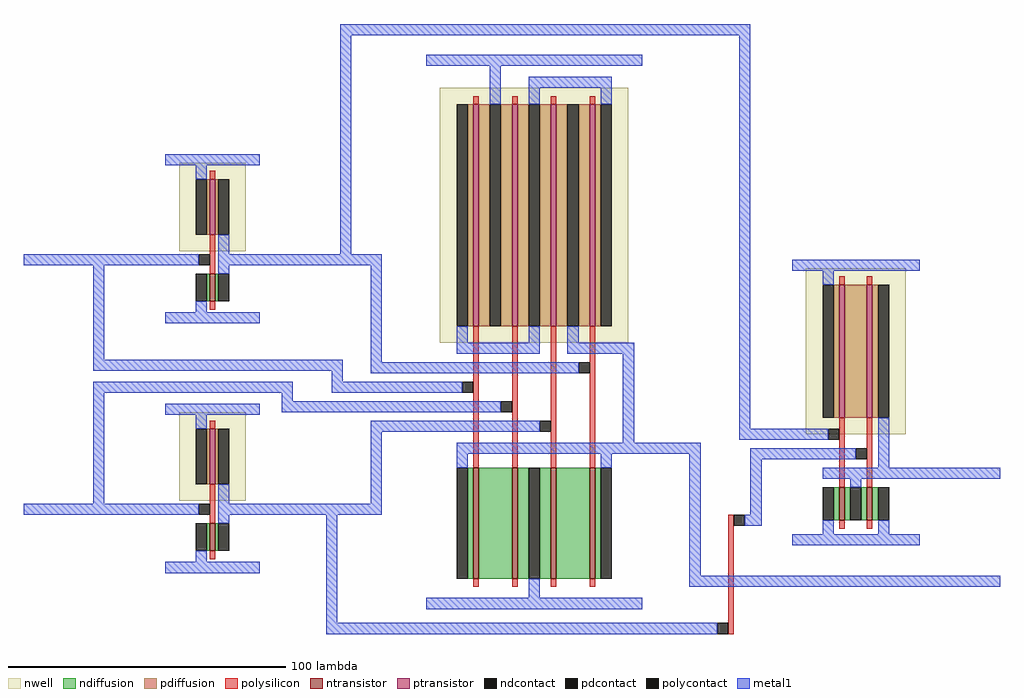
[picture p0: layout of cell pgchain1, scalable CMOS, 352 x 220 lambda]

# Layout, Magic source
magic
tech scmos
<< polysilicon >>
rect 116 -9 118 34
<< polycontact >>
rect 112 -9 116 -5
rect 118 30 122 34
<< metal1 >>
rect -24 207 124 211
rect -24 128 -20 207
rect -138 124 -87 128
rect -53 124 -9 128
rect -113 90 -109 124
rect -113 86 -23 90
rect -27 82 -23 86
rect -13 89 -9 124
rect -13 85 0 89
rect -113 78 -41 82
rect -27 78 0 82
rect -113 38 -109 78
rect -45 75 -41 78
rect -45 71 0 75
rect -13 64 0 68
rect 120 65 124 207
rect -13 38 -9 64
rect 120 61 138 65
rect 85 56 106 60
rect -138 34 -87 38
rect -53 34 -9 38
rect -29 -5 -25 34
rect 102 12 106 56
rect 124 54 138 58
rect 124 34 128 54
rect 183 47 214 51
rect 122 30 128 34
rect 102 8 214 12
rect -29 -9 112 -5
use inv_W  inv_W_0
transform 1 0 -72 0 1 133
box -15 -30 19 31
use inv_W  inv_W_1
transform 1 0 -72 0 1 43
box -15 -30 19 31
use xor_2W  xor_2W_0
transform 1 0 34 0 1 111
box -34 -111 51 89
use and  and_0
transform 1 0 169 0 1 71
box -31 -48 16 55
<< end >>

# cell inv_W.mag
magic
tech scmos
<< nwell >>
rect -10 -4 14 28
<< ntransistor >>
rect 1 -22 3 -12
<< ptransistor >>
rect 1 2 3 22
<< ndiffusion >>
rect 0 -22 1 -12
rect 3 -22 4 -12
<< pdiffusion >>
rect 0 2 1 22
rect 3 2 4 22
<< ndcontact >>
rect -4 -22 0 -12
rect 4 -22 8 -12
<< pdcontact >>
rect -4 2 0 22
rect 4 2 8 22
<< polysilicon >>
rect 1 22 3 25
rect 1 -12 3 2
rect 1 -25 3 -22
<< polycontact >>
rect -3 -9 1 -5
<< metal1 >>
rect -15 27 19 31
rect -4 22 0 27
rect 4 -5 8 2
rect -15 -9 -3 -5
rect 4 -9 19 -5
rect 4 -12 8 -9
rect -4 -26 0 -22
rect -15 -30 19 -26
<< labels >>
rlabel metal1 -15 27 19 31 5 vdd
rlabel metal1 -15 -30 19 -26 1 gnd
rlabel metal1 -15 -9 -3 -5 1 input
rlabel metal1 4 -9 19 -5 1 output
<< end >>

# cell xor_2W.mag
magic
tech scmos
<< nwell >>
rect -22 -15 46 77
<< ntransistor >>
rect -10 -100 -8 -60
rect 4 -100 6 -60
rect 18 -100 20 -60
rect 32 -100 34 -60
<< ptransistor >>
rect -10 -9 -8 71
rect 4 -9 6 71
rect 18 -9 20 71
rect 32 -9 34 71
<< ndiffusion >>
rect -12 -100 -10 -60
rect -8 -100 4 -60
rect 6 -100 10 -60
rect 14 -100 18 -60
rect 20 -100 32 -60
rect 34 -100 36 -60
<< pdiffusion >>
rect -12 -9 -10 71
rect -8 -9 -4 71
rect 0 -9 4 71
rect 6 -9 10 71
rect 14 -9 18 71
rect 20 -9 24 71
rect 28 -9 32 71
rect 34 -9 36 71
<< ndcontact >>
rect -16 -100 -12 -60
rect 10 -100 14 -60
rect 36 -100 40 -60
<< pdcontact >>
rect -16 -9 -12 71
rect -4 -9 0 71
rect 10 -9 14 71
rect 24 -9 28 71
rect 36 -9 40 71
<< polysilicon >>
rect -10 71 -8 74
rect 4 71 6 74
rect 18 71 20 74
rect 32 71 34 74
rect -10 -60 -8 -9
rect 4 -60 6 -9
rect 18 -60 20 -9
rect 32 -60 34 -9
rect -10 -103 -8 -100
rect 4 -103 6 -100
rect 18 -103 20 -100
rect 32 -103 34 -100
<< polycontact >>
rect -14 -33 -10 -29
rect 0 -40 4 -36
rect 14 -47 18 -43
rect 28 -26 32 -22
<< metal1 >>
rect -27 85 51 89
rect -4 71 0 85
rect 10 77 40 81
rect 10 71 14 77
rect 36 71 40 77
rect -16 -15 -12 -9
rect 10 -15 14 -9
rect -16 -19 14 -15
rect 24 -15 28 -9
rect 24 -19 48 -15
rect -34 -26 28 -22
rect -34 -33 -14 -29
rect -34 -40 0 -36
rect -34 -47 14 -43
rect 44 -51 48 -19
rect -16 -55 51 -51
rect -16 -60 -12 -55
rect 36 -60 40 -55
rect 10 -107 14 -100
rect -27 -111 51 -107
<< labels >>
rlabel metal1 -27 -111 51 -107 1 gnd
rlabel metal1 -27 85 51 89 5 vdd
rlabel metal1 -16 -55 51 -51 1 out
rlabel metal1 -34 -26 28 -22 1 in_a_bar
rlabel metal1 -34 -33 -14 -29 1 in_a
rlabel metal1 -34 -40 0 -36 1 in_b
rlabel metal1 -34 -47 14 -43 1 in_b_bar
<< end >>

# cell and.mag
magic
tech scmos
<< nwell >>
rect -25 -8 11 52
<< ntransistor >>
rect -13 -39 -11 -27
rect -3 -39 -1 -27
<< ptransistor >>
rect -13 -2 -11 46
rect -3 -2 -1 46
<< ndiffusion >>
rect -15 -39 -13 -27
rect -11 -39 -9 -27
rect -5 -39 -3 -27
rect -1 -39 1 -27
<< pdiffusion >>
rect -15 -2 -13 46
rect -11 -2 -3 46
rect -1 -2 1 46
<< ndcontact >>
rect -19 -39 -15 -27
rect -9 -39 -5 -27
rect 1 -39 5 -27
<< pdcontact >>
rect -19 -2 -15 46
rect 1 -2 5 46
<< polysilicon >>
rect -13 46 -11 49
rect -3 46 -1 49
rect -13 -27 -11 -2
rect -3 -27 -1 -2
rect -13 -42 -11 -39
rect -3 -42 -1 -39
<< polycontact >>
rect -17 -10 -13 -6
rect -7 -17 -3 -13
<< metal1 >>
rect -30 51 16 55
rect -19 46 -15 51
rect -31 -10 -17 -6
rect -31 -17 -7 -13
rect 1 -20 5 -2
rect -19 -24 14 -20
rect -9 -27 -5 -24
rect -19 -44 -15 -39
rect 1 -44 5 -39
rect -30 -48 16 -44
<< labels >>
rlabel metal1 -31 -10 -17 -6 1 in1
rlabel metal1 -31 -17 -7 -13 1 in2
rlabel metal1 -19 -24 14 -20 1 out
rlabel metal1 -30 51 16 55 5 vdd
rlabel metal1 -30 -48 16 -44 1 gnd
<< end >>
